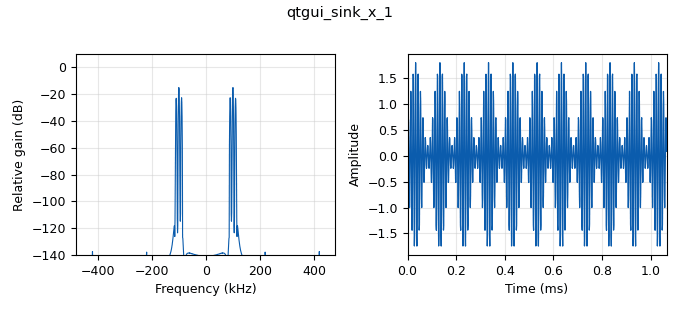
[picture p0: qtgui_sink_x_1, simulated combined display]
options:
  parameters:
    category: Custom
    generate_options: qt_gui
    id: top_block
    output_language: python
  states: {}

blocks:
- name: samp_rate
  id: variable
  parameters:
    value: '960000'
  states: {}
- name: analog_const_source_x_1
  id: analog_const_source_x
  parameters:
    const: '1'
    type: float
  states: {}
- name: analog_sig_source_x_0
  id: analog_sig_source_x
  parameters:
    amp: '1'
    freq: '10000'
    offset: '0'
    phase: '0'
    samp_rate: samp_rate
    type: float
    waveform: analog.GR_COS_WAVE
  states: {}
- name: analog_sig_source_x_1
  id: analog_sig_source_x
  parameters:
    amp: '1'
    freq: '100000'
    offset: '0'
    phase: '0'
    samp_rate: samp_rate
    type: float
    waveform: analog.GR_COS_WAVE
  states: {}
- name: blocks_add_xx_0
  id: blocks_add_xx
  parameters:
    type: float
  states: {}
- name: blocks_multiply_xx_0
  id: blocks_multiply_xx
  parameters:
    type: float
  states: {}
- name: blocks_multiply_xx_1
  id: blocks_multiply_xx
  parameters:
    type: float
  states: {}
- name: blocks_throttle_0
  id: blocks_throttle
  parameters:
    samples_per_second: samp_rate
    type: float
  states: {}
- name: m
  id: analog_const_source_x
  parameters:
    const: '0.8'
    type: float
  states: {}
- name: qtgui_sink_x_1
  id: qtgui_sink_x
  parameters:
    bw: samp_rate
    fc: '0'
    fftsize: '1024'
    plotwaterfall: 'False'
    showports: 'True'
    type: float
  states: {}

connections:
- [analog_const_source_x_1, '0', blocks_add_xx_0, '0']
- [analog_sig_source_x_0, '0', blocks_multiply_xx_0, '1']
- [analog_sig_source_x_1, '0', blocks_multiply_xx_1, '1']
- [blocks_add_xx_0, '0', blocks_multiply_xx_1, '0']
- [blocks_multiply_xx_0, '0', blocks_add_xx_0, '1']
- [blocks_multiply_xx_1, '0', blocks_throttle_0, '0']
- [blocks_throttle_0, '0', qtgui_sink_x_1, '0']
- [m, '0', blocks_multiply_xx_0, '0']

metadata:
  file_format: 1
  grc_version: 3.10.5.1
